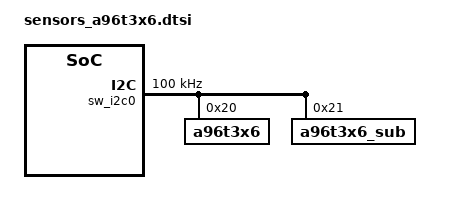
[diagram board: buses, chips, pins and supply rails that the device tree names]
#define COMMON_GRIP_VDD 1

#if 1

&sw_i2c0 {
	gpios = <SEC_GPIO_REF(AP,pio,42) 0 /* sda */
			SEC_GPIO_REF(AP,pio,41) 0>; /* scl */
	#address-cells = <1>;
	#size-cells = <0>;
	status = "okay";
	clock-frequency = <100000>;
	a96t3x6: a96t3x6@20 {
		compatible = "a96t3x6";
		reg = <0x20>;
		
		pinctrl-names = "default";
#if 1
		pinctrl-0 = <&grip_int &grip_ldo_en>;
#else
		pinctrl-0 = <&grip_int>;
#endif
		interrupt-parent = <SEC_GPIO_TYPE(AP,pio,79)>;
		interrupts = <SEC_GPIO_NUM(AP,pio,79) 0>;

		a96t3x6,irq_gpio = <SEC_GPIO_REF(AP,pio,79) 0>;
		a96t3x6,ldo_en = <SEC_GPIO_REF(AP,pio,151) 0>;
		a96t3x6,fw_path = "abov/a96t356_a12_main.bin";
		a96t3x6,firmup_cmd = <0x3b>;
	};
};

&pio {
	grip_int: grip-int {
		pins_cmd_dat {
			pinmux = <MTK_PINMUX(SEC_GPIO_NUM(AP,pio,79), 0)>;
			slew-rate = <0>;
			bias-disable;
		};
	};
};

#if 1
&pio {
	grip_ldo_en: grip-ldo-en {
		pins_cmd_dat {
			pinmux = <MTK_PINMUX(SEC_GPIO_NUM(AP,pio,151), 0)>;
			slew-rate = <1>;
			bias-disable;
			output-high;
		};
	};
};
#endif

#if 0
&pio {
	grip_i2c: grip-i2c {
		pins_cmd0_dat {
			pinmux = <MTK_PINMUX(SEC_GPIO_NUM(AP,pio,42), 0)>;
			slew-rate = <0>;
			bias-disable;
		};
		pins_cmd1_dat {
			pinmux = <MTK_PINMUX(SEC_GPIO_NUM(AP,pio,41), 0)>;
			slew-rate = <0>;
			bias-disable;
		};
	};
};
#endif
#endif

#if 1

&sw_i2c0 {
	gpios = <SEC_GPIO_REF(AP,pio,42) 0 /* sda */
			SEC_GPIO_REF(AP,pio,41) 0>; /* scl */
	#address-cells = <1>;
	#size-cells = <0>;
	status = "okay";
	clock-frequency = <100000>;
	a96t3x6_sub: a96t3x6@21 {
		compatible = "a96t3x6_sub";
		reg = <0x21>;
		
		pinctrl-names = "default";
#if 0
		pinctrl-0 = <&grip_sub_int &grip_sub_ldo_en>;
#else
		pinctrl-0 = <&grip_sub_int>;
#endif
		interrupt-parent = <SEC_GPIO_TYPE(AP,pio,80)>;
		interrupts = <SEC_GPIO_NUM(AP,pio,80) 0>;

		a96t3x6,irq_gpio = <SEC_GPIO_REF(AP,pio,80) 0>;
#if 0
		a96t3x6,ldo_en = <SEC_GPIO_REF(${gpio_grip_sub_ldo_en}) 0>;
#elif COMMON_GRIP_VDD == COMMON_GRIP_VDD
		a96t3x6,ldo_en = <SEC_GPIO_REF(AP,pio,151) 0>;
#endif
		a96t3x6,fw_path = "abov/a96t356_a12_sub.bin";
		a96t3x6,firmup_cmd = <0x3b>;
	};
};

&pio {
	grip_sub_int: grip-sub-int {
		pins_cmd_dat {
			pinmux = <MTK_PINMUX(SEC_GPIO_NUM(AP,pio,80), 0)>;
			slew-rate = <0>;
			bias-disable;
		};
	};
};

#if 0
&${gpio_grip_sub_ldo_en_parent} {
	grip_sub_ldo_en: grip-sub-ldo-en {
		pins_cmd_dat {
			pinmux = <MTK_PINMUX(SEC_GPIO_NUM(${gpio_grip_sub_en}), 0)>;
			slew-rate = <1>;
			bias-disable;
			output-high;
		};
	};
};
#endif

#if 0
&pio {
	grip_sub_i2c: grip-sub-i2c {
		pins_cmd0_dat {
			pinmux = <MTK_PINMUX(SEC_GPIO_NUM(AP,pio,42), 0)>;
			slew-rate = <0>;
			bias-disable;
		};
		pins_cmd1_dat {
			pinmux = <MTK_PINMUX(SEC_GPIO_NUM(AP,pio,41), 0)>;
			slew-rate = <0>;
			bias-disable;
		};
	};
};
#endif
#endif

